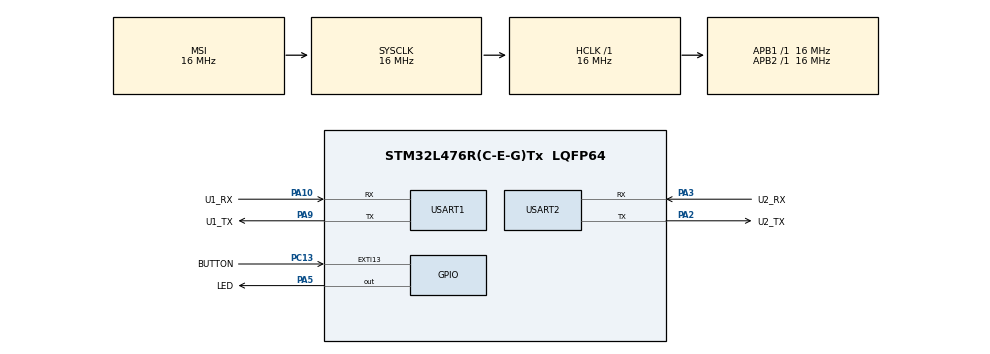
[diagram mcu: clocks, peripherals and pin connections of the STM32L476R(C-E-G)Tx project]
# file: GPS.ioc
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Mcu.Family=STM32L4
Mcu.Name=STM32L476R(C-E-G)Tx
Mcu.Package=LQFP64
NVIC.EXTI15_10_IRQn=true\:0\:0\:false\:false\:true\:true\:true
NVIC.PriorityGroup=NVIC_PRIORITYGROUP_4
NVIC.TIM2_IRQn=true\:0\:0\:false\:false\:true\:true\:true
NVIC.USART1_IRQn=true\:0\:0\:false\:false\:true\:true\:true
NVIC.USART2_IRQn=true\:0\:0\:false\:false\:true\:true\:true
PA10.GPIO_Label=U1_RX
PA10.Mode=Asynchronous
PA10.Signal=USART1_RX
PA2.GPIO_Label=U2_TX
PA2.Mode=Asynchronous
PA2.Signal=USART2_TX
PA3.GPIO_Label=U2_RX
PA3.Mode=Asynchronous
PA3.Signal=USART2_RX
PA5.GPIO_Label=LED
PA5.Signal=GPIO_Output
PA9.GPIO_Label=U1_TX
PA9.Mode=Asynchronous
PA9.Signal=USART1_TX
PC13.GPIO_Label=BUTTON
PC13.Signal=GPXTI13
ProjectManager.HeapSize=0x200
ProjectManager.StackSize=0x400
ProjectManager.TargetToolchain=STM32CubeIDE
RCC.ADCFreq_Value=64000000
RCC.AHBFreq_Value=16000000
RCC.APB1Freq_Value=16000000
RCC.APB1TimFreq_Value=16000000
RCC.APB2Freq_Value=16000000
RCC.APB2TimFreq_Value=16000000
RCC.CortexFreq_Value=16000000
RCC.HCLKFreq_Value=16000000
RCC.HSE_VALUE=8000000
RCC.HSI_VALUE=16000000
RCC.LSE_VALUE=32768
RCC.MSIClockRange=RCC_MSIRANGE_8
RCC.MSI_VALUE=16000000
RCC.SYSCLKFreq_VALUE=16000000
RCC.USBFreq_Value=64000000
RCC.VCOOutputFreq_Value=128000000
TIM2.Period=999
TIM2.Prescaler=15
USART1.VirtualMode-Asynchronous=VM_ASYNC
USART2.VirtualMode-Asynchronous=VM_ASYNC
VP_TIM2_VS_ClockSourceINT.Mode=Internal
board=custom

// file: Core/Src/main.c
/* USER CODE BEGIN Header */
/**
  ******************************************************************************
  * @file           : main.c
  * @brief          : Main program body
  ******************************************************************************
  * @attention
  *
  * <h2><center>&copy; Copyright (c) 2020 STMicroelectronics.
  * All rights reserved.</center></h2>
  *
  * This software component is licensed by ST under BSD 3-Clause license,
  * the "License"; You may not use this file except in compliance with the
  * License. You may obtain a copy of the License at:
  *                        opensource.org/licenses/BSD-3-Clause
  *
  ******************************************************************************
  */
/* USER CODE END Header */
#include "main.h"

/* USER CODE BEGIN Includes */
#include "uart/uart_driver.h"
#include <string.h>
/* USER CODE END Includes */

/* USER CODE BEGIN PD */
#define BUFFER_SIZE		(500)
/* USER CODE END PD */

TIM_HandleTypeDef htim2;

UART_HandleTypeDef huart1;
UART_HandleTypeDef huart2;

/* USER CODE BEGIN PV */

/* ring buffers handlers */
cbuf_handle_t ring_buffer_rx;
cbuf_handle_t ring_buffer_tx;
/* physical buffers */
uint8_t comm_rx_buffer[BUFFER_SIZE];
uint8_t comm_tx_buffer[BUFFER_SIZE];
/* USER CODE END PV */

void SystemClock_Config(void);
static void MX_GPIO_Init(void);
static void MX_TIM2_Init(void);
static void MX_USART1_UART_Init(void);
static void MX_USART2_UART_Init(void);

/* USER CODE BEGIN 0 */
/* INTERRUPT CALLBACKS */
uint8_t rx_data_byte;
uint8_t tx_data_byte;
void HAL_UART_RxCpltCallback(UART_HandleTypeDef *huart)
{
	HAL_UART_Receive_IT(&huart2, &rx_data_byte, 1);
	/* Tested OK */
	if (huart->Instance == USART2) {
		ring_buf_write(ring_buffer_rx, &rx_data_byte, 1);
	}
}

void HAL_UART_TxCpltCallback(UART_HandleTypeDef *huart)
{
	/* Tested OK */
	/*
	if (huart->Instance == USART2) {
		HAL_GPIO_TogglePin(LED_GPIO_Port, LED_Pin);
	}
	*/

}
uint16_t time_ms = 0;
void HAL_TIM_PeriodElapsedCallback(TIM_HandleTypeDef *htim)
{
	/* Tested OK */
	/* HAL_TIM_Base_start_IT() must be called in main.c */

	if (htim->Instance == TIM2) {
		time_ms++;
		if (time_ms >= 1000) {
			time_ms = 0;
			HAL_GPIO_TogglePin(LED_GPIO_Port, LED_Pin);
		}
	}

}

void HAL_GPIO_EXTI_Callback(uint16_t GPIO_Pin)
{
	/* Tested OK */
  //HAL_GPIO_TogglePin(LED_GPIO_Port, LED_Pin);
}

/* USER CODE END 0 */

int main(void)
{

  /* MCU Configuration--------------------------------------------------------*/

  /* Reset of all peripherals, Initializes the Flash interface and the Systick. */
  HAL_Init();

  /* Configure the system clock */
  SystemClock_Config();

  /* Initialize all configured peripherals */
  MX_GPIO_Init();
  MX_TIM2_Init();
  MX_USART1_UART_Init();
  MX_USART2_UART_Init();
  /* USER CODE BEGIN 2 */
  ring_buffer_rx = ring_buf_init(comm_rx_buffer, BUFFER_SIZE);
  ring_buffer_tx = ring_buf_init(comm_tx_buffer, BUFFER_SIZE);
  HAL_TIM_Base_Start_IT(&htim2);
  HAL_UART_Receive_IT(&huart2, &rx_data_byte, 1);
  /* USER CODE END 2 */

  /* Infinite loop */
  /* USER CODE BEGIN WHILE */
  while (1)
  {
	  size_t size_buf = ring_buf_size(ring_buffer_rx);
	  if(size_buf == 3) {
		  ring_buf_read(ring_buffer_rx, comm_tx_buffer, size_buf);
			  HAL_UART_Transmit(&huart2, comm_tx_buffer, size_buf, 1000);
	  }
    /* USER CODE END WHILE */

  }
}

void SystemClock_Config(void)
{
  RCC_OscInitTypeDef RCC_OscInitStruct = {0};
  RCC_ClkInitTypeDef RCC_ClkInitStruct = {0};
  RCC_PeriphCLKInitTypeDef PeriphClkInit = {0};

  /** Initializes the RCC Oscillators according to the specified parameters
  * in the RCC_OscInitTypeDef structure.
  */
  RCC_OscInitStruct.OscillatorType = RCC_OSCILLATORTYPE_MSI;
  RCC_OscInitStruct.MSIState = RCC_MSI_ON;
  RCC_OscInitStruct.MSICalibrationValue = 0;
  RCC_OscInitStruct.MSIClockRange = RCC_MSIRANGE_8;
  RCC_OscInitStruct.PLL.PLLState = RCC_PLL_NONE;
  if (HAL_RCC_OscConfig(&RCC_OscInitStruct) != HAL_OK)
  {
    Error_Handler();
  }
  /** Initializes the CPU, AHB and APB buses clocks
  */
  RCC_ClkInitStruct.ClockType = RCC_CLOCKTYPE_HCLK|RCC_CLOCKTYPE_SYSCLK
                              |RCC_CLOCKTYPE_PCLK1|RCC_CLOCKTYPE_PCLK2;
  RCC_ClkInitStruct.SYSCLKSource = RCC_SYSCLKSOURCE_MSI;
  RCC_ClkInitStruct.AHBCLKDivider = RCC_SYSCLK_DIV1;
  RCC_ClkInitStruct.APB1CLKDivider = RCC_HCLK_DIV1;
  RCC_ClkInitStruct.APB2CLKDivider = RCC_HCLK_DIV1;

  if (HAL_RCC_ClockConfig(&RCC_ClkInitStruct, FLASH_LATENCY_0) != HAL_OK)
  {
    Error_Handler();
  }
  PeriphClkInit.PeriphClockSelection = RCC_PERIPHCLK_USART1|RCC_PERIPHCLK_USART2;
  PeriphClkInit.Usart1ClockSelection = RCC_USART1CLKSOURCE_PCLK2;
  PeriphClkInit.Usart2ClockSelection = RCC_USART2CLKSOURCE_PCLK1;
  if (HAL_RCCEx_PeriphCLKConfig(&PeriphClkInit) != HAL_OK)
  {
    Error_Handler();
  }
  /** Configure the main internal regulator output voltage
  */
  if (HAL_PWREx_ControlVoltageScaling(PWR_REGULATOR_VOLTAGE_SCALE1) != HAL_OK)
  {
    Error_Handler();
  }
}

static void MX_TIM2_Init(void)
{

  TIM_ClockConfigTypeDef sClockSourceConfig = {0};
  TIM_MasterConfigTypeDef sMasterConfig = {0};

  htim2.Instance = TIM2;
  htim2.Init.Prescaler = 15;
  htim2.Init.CounterMode = TIM_COUNTERMODE_UP;
  htim2.Init.Period = 999;
  htim2.Init.ClockDivision = TIM_CLOCKDIVISION_DIV1;
  htim2.Init.AutoReloadPreload = TIM_AUTORELOAD_PRELOAD_DISABLE;
  if (HAL_TIM_Base_Init(&htim2) != HAL_OK)
  {
    Error_Handler();
  }
  sClockSourceConfig.ClockSource = TIM_CLOCKSOURCE_INTERNAL;
  if (HAL_TIM_ConfigClockSource(&htim2, &sClockSourceConfig) != HAL_OK)
  {
    Error_Handler();
  }
  sMasterConfig.MasterOutputTrigger = TIM_TRGO_RESET;
  sMasterConfig.MasterSlaveMode = TIM_MASTERSLAVEMODE_DISABLE;
  if (HAL_TIMEx_MasterConfigSynchronization(&htim2, &sMasterConfig) != HAL_OK)
  {
    Error_Handler();
  }

}

static void MX_USART1_UART_Init(void)
{

  huart1.Instance = USART1;
  huart1.Init.BaudRate = 115200;
  huart1.Init.WordLength = UART_WORDLENGTH_8B;
  huart1.Init.StopBits = UART_STOPBITS_1;
  huart1.Init.Parity = UART_PARITY_NONE;
  huart1.Init.Mode = UART_MODE_TX_RX;
  huart1.Init.HwFlowCtl = UART_HWCONTROL_NONE;
  huart1.Init.OverSampling = UART_OVERSAMPLING_16;
  huart1.Init.OneBitSampling = UART_ONE_BIT_SAMPLE_DISABLE;
  huart1.AdvancedInit.AdvFeatureInit = UART_ADVFEATURE_NO_INIT;
  if (HAL_UART_Init(&huart1) != HAL_OK)
  {
    Error_Handler();
  }

}

static void MX_USART2_UART_Init(void)
{

  huart2.Instance = USART2;
  huart2.Init.BaudRate = 115200;
  huart2.Init.WordLength = UART_WORDLENGTH_8B;
  huart2.Init.StopBits = UART_STOPBITS_1;
  huart2.Init.Parity = UART_PARITY_NONE;
  huart2.Init.Mode = UART_MODE_TX_RX;
  huart2.Init.HwFlowCtl = UART_HWCONTROL_NONE;
  huart2.Init.OverSampling = UART_OVERSAMPLING_16;
  huart2.Init.OneBitSampling = UART_ONE_BIT_SAMPLE_DISABLE;
  huart2.AdvancedInit.AdvFeatureInit = UART_ADVFEATURE_NO_INIT;
  if (HAL_UART_Init(&huart2) != HAL_OK)
  {
    Error_Handler();
  }

}

static void MX_GPIO_Init(void)
{
  GPIO_InitTypeDef GPIO_InitStruct = {0};

  /* GPIO Ports Clock Enable */
  __HAL_RCC_GPIOC_CLK_ENABLE();
  __HAL_RCC_GPIOA_CLK_ENABLE();

  /*Configure GPIO pin Output Level */
  HAL_GPIO_WritePin(LED_GPIO_Port, LED_Pin, GPIO_PIN_RESET);

  /*Configure GPIO pin : BUTTON_Pin */
  GPIO_InitStruct.Pin = BUTTON_Pin;
  GPIO_InitStruct.Mode = GPIO_MODE_IT_FALLING;
  GPIO_InitStruct.Pull = GPIO_NOPULL;
  HAL_GPIO_Init(BUTTON_GPIO_Port, &GPIO_InitStruct);

  /*Configure GPIO pin : LED_Pin */
  GPIO_InitStruct.Pin = LED_Pin;
  GPIO_InitStruct.Mode = GPIO_MODE_OUTPUT_PP;
  GPIO_InitStruct.Pull = GPIO_NOPULL;
  GPIO_InitStruct.Speed = GPIO_SPEED_FREQ_LOW;
  HAL_GPIO_Init(LED_GPIO_Port, &GPIO_InitStruct);

  /* EXTI interrupt init*/
  HAL_NVIC_SetPriority(EXTI15_10_IRQn, 0, 0);
  HAL_NVIC_EnableIRQ(EXTI15_10_IRQn);

}

void Error_Handler(void)
{
}

/************************ (C) COPYRIGHT STMicroelectronics *****END OF FILE****/
